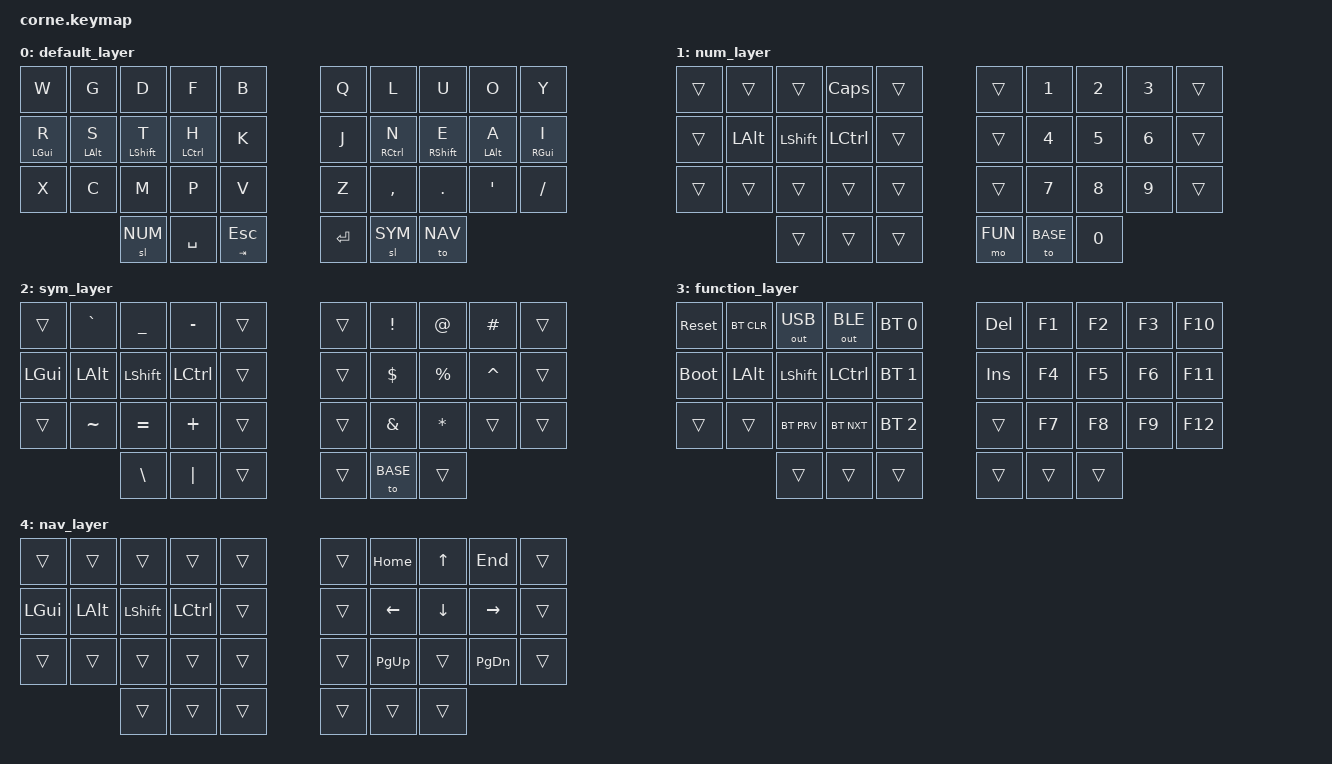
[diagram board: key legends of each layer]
/*
 * Copyright (c) 2020 The ZMK Contributors
 *
 * SPDX-License-Identifier: MIT
 */

#include <behaviors.dtsi>
#include <dt-bindings/zmk/keys.h>
#include <dt-bindings/zmk/bt.h>

#include <dt-bindings/zmk/outputs.h>
#include <dt-bindings/zmk/ext_power.h>
#include <dt-bindings/zmk/mouse.h>

#define BASE 0
#define NUM  1
#define SYM  2
#define FUN  3
#define NAV 4

&mt {
  quick-tap-ms = <90>;
  global-quick-tap;
  flavor = "tap-preferred";
  tapping-term-ms = <170>;
};

/ {
    behaviors {
      hm: homerow_mods {
          compatible = "zmk,behavior-hold-tap";
          label = "HOMEROW_MODS";
          #binding-cells = <2>;
          tapping-term-ms = <170>;
          quick-tap-ms = <90>;
          flavor = "tap-preferred";
          bindings = <&kp>, <&kp>;
      };
      hs: homerow_mods_slow {
          compatible = "zmk,behavior-hold-tap";
          label = "HOMEROW_MODS_SLOW";
          #binding-cells = <2>;
          tapping-term-ms = <300>;
          quick-tap-ms = <170>;
          flavor = "tap-preferred";
          bindings = <&kp>, <&kp>;
      };
      tab_esc: tab_esc {
          compatible = "zmk,behavior-hold-tap";
          label = "TAB_ESC";
          #binding-cells = <2>;
          tapping-term-ms = <170>;
          quick-tap-ms = <90>;
          flavor = "tap-preferred";
          bindings = <&kp>, <&kp>;
      };
    };

    combos {
      compatible = "zmk,combos";
      combo_bspc {
          timeout-ms = <30>;
          key-positions = <26 27>;
          bindings = <&kp BSPC>;
      };
      combo_lbkt {
          timeout-ms = <30>;
          key-positions = <6 7>;
          layers = <0>;
          bindings = <&kp LBKT>;
      };
      combo_rbkt {
          timeout-ms = <30>;
          key-positions = <6 7>;
          layers = <2>;
          bindings = <&kp RBKT>;
      };
      combo_lpar {
          timeout-ms = <30>;
          key-positions = <2 3>;
          layers = <0>;
          bindings = <&kp LPAR>;
      };
      combo_rpar {
          timeout-ms = <30>;
          key-positions = <2 3>;
          layers = <2>;
          bindings = <&kp RPAR>;
      };
      combo_lbrc {
          timeout-ms = <30>;
          key-positions = <22 23>;
          layers = <0>;
          bindings = <&kp LBRC>;
      };
      combo_rbrc {
          timeout-ms = <30>;
          key-positions = <22 23>;
          layers = <2>;
          bindings = <&kp RBRC>;
      };
      combo_colon {
          timeout-ms = <30>;
          key-positions = <15 16>;
          layers = <0>;
          bindings = <&kp COLON>;
      };
      combo_semi {
          timeout-ms = <30>;
          key-positions = <13 14>;
          layers = <0>;
          bindings = <&kp SEMI>;
      };
    };

    macros {
      s_all: s_all {
          label = "select_all";
          compatible = "zmk,behavior-macro";
          #binding-cells = <0>;
          bindings
              = <&macro_tap &kp HOME>
              , <&macro_press &kp LSHFT>
              , <&macro_tap &kp END>
              , <&macro_release &kp LSHFT>
              ;
      };
    };
};

/ {
    chosen {
      zmk,matrix_transform = &five_column_transform;
    };
};

/ {
    keymap {
      compatible = "zmk,keymap";

      default_layer {
        bindings = <
          &kp W &kp G &kp D &kp F &kp B                           &kp Q &kp L  &kp U    &kp O   &kp Y
          &hs LGUI R &hm LALT S &hm LSHFT T &hm LCTRL H &kp K     &kp J &hm RCTRL N  &hm RSHFT E &hm LALT A &hs RGUI I
          &kp X &kp C &kp M  &kp P &kp V                          &kp Z &kp COMMA  &kp DOT &kp SQT &kp FSLH
          &sl NUM &kp SPACE &tab_esc TAB ESC                      &kp RET &sl SYM &to NAV
        >;
      };

      num_layer {
        bindings = <
          &trans  &trans &trans &kp CAPS &trans             &trans &kp N1 &kp N2  &kp N3  &trans
          &trans  &kp LALT &kp LSHFT &kp LCTRL &trans       &trans &kp N4 &kp N5  &kp N6  &trans
          &trans  &trans &trans &trans &trans               &trans &kp N7 &kp N8  &kp N9  &trans
          &trans  &trans &trans                             &mo FUN &to BASE &kp N0
        >;
      };

      sym_layer {
        bindings = <
          &trans  &kp GRAVE &kp UNDER &kp MINUS &trans          &trans  &kp EXCL  &kp AT &kp HASH &trans
          &kp LGUI &kp LALT  &kp LSHFT  &kp LCTRL &trans        &trans  &kp DLLR  &kp PRCNT &kp CARET &trans
          &trans  &kp TILDE &kp EQUAL &kp PLUS  &trans          &trans  &kp AMPS  &kp STAR &trans &trans
          &kp BSLH  &kp PIPE  &trans                            &trans  &to BASE  &trans
        >;
      };

      function_layer {
        bindings = <
          &sys_reset    &bt BT_CLR  &out OUT_USB  &out OUT_BLE &bt BT_SEL 0         &kp DEL &kp F1  &kp F2  &kp F3    &kp F10
          &bootloader   &kp LALT    &kp LSHFT     &kp LCTRL    &bt BT_SEL 1         &kp INS &kp F4  &kp F5  &kp F6    &kp F11
          &trans        &trans      &bt BT_PRV    &bt BT_NXT   &bt BT_SEL 2         &trans  &kp F7  &kp F8  &kp F9    &kp F12
          &trans        &trans      &trans                                          &trans  &trans  &trans
        >;
      };

      nav_layer {
        bindings = <
          &trans  &trans  &trans  &trans  &trans            &trans &kp HOME &kp UP &kp END &trans
          &kp LGUI &kp LALT &kp LSHFT &kp LCTRL &trans      &trans &kp LEFT &kp DOWN &kp RIGHT &trans
          &trans  &trans  &trans  &trans  &trans            &trans &kp PG_UP &trans &kp PG_DN &trans
                          &trans  &trans  &trans            &trans &trans &trans
        >;
      };
   };
};
